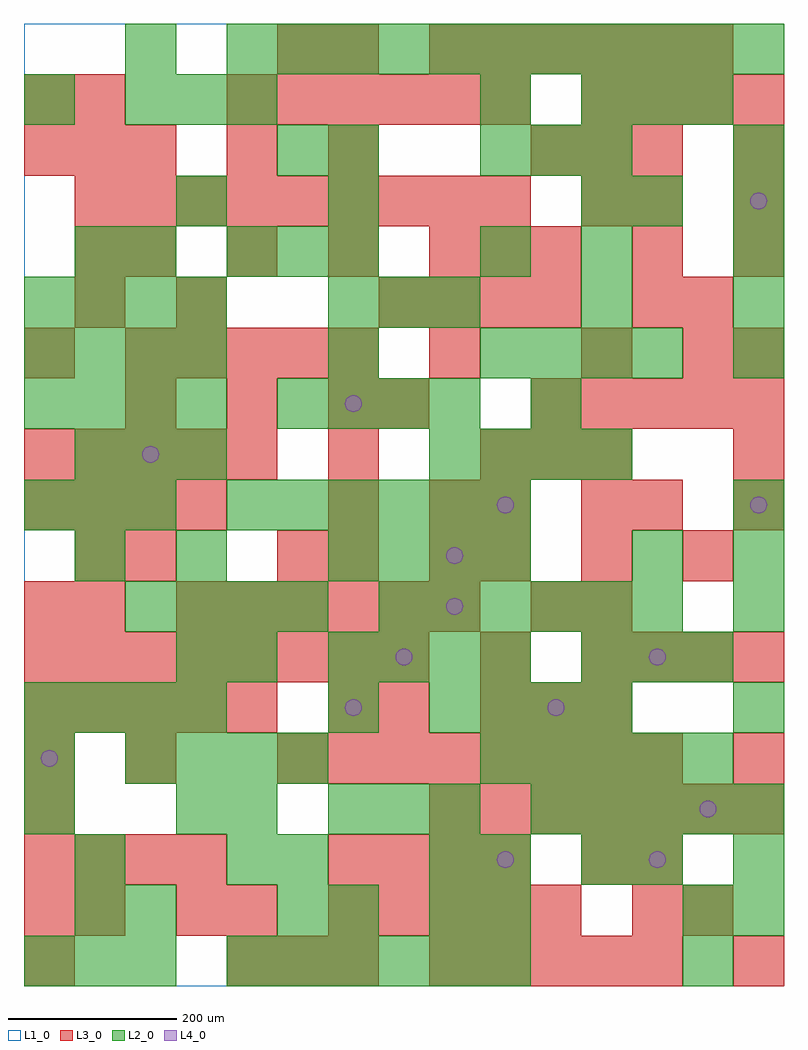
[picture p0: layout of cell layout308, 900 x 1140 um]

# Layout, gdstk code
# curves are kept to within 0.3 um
import gdstk
lib = gdstk.Library(unit=1e-6, precision=1e-09)
def R(c, l, rs):  # rectangles x0, y0, x1, y1
    for r in rs: c.add(gdstk.rectangle(r[:2], r[2:], *l))
def A(c, l, x, y, w, h, nx, ny, dx, dy):  # array of equal rectangles
    R(c, l, [(x+i*dx, y+j*dy, x+i*dx+w, y+j*dy+h) for i in range(nx) for j in range(ny)])
def P(c, l, *ps):  # polygons
    for p in ps: c.add(gdstk.Polygon(p, *l))
L1_0 = (1, 0)
L2_0 = (2, 0)
L3_0 = (3, 0)
L4_0 = (4, 0)

layout308 = lib.new_cell('layout308')
R(layout308, L1_0, [(0,0,900,1140)])
A(layout308, L2_0, 0, 0, 60, 60, 3, 2, 60, 540)
A(layout308, L2_0, 240, 0, 60, 60, 6, 2, 60, 540)
A(layout308, L2_0, 60, 120, 60, 60, 1, 3, 0, 360)
A(layout308, L2_0, 360, 180, 60, 60, 3, 2, 60, 600)
A(layout308, L2_0, 600, 180, 60, 60, 5, 1, 60, 0)
A(layout308, L2_0, 120, 240, 60, 60, 4, 2, 60, 180)
A(layout308, L2_0, 540, 240, 60, 60, 5, 1, 60, 0)
A(layout308, L2_0, 0, 300, 60, 60, 4, 2, 60, 360)
A(layout308, L2_0, 480, 300, 60, 60, 4, 2, 60, 300)
A(layout308, L2_0, 360, 360, 60, 60, 4, 2, 60, 120)
A(layout308, L2_0, 660, 360, 60, 60, 3, 2, 60, 660)
A(layout308, L2_0, 420, 420, 60, 60, 6, 1, 60, 0)
A(layout308, L2_0, 840, 420, 60, 60, 1, 3, 0, 60)
A(layout308, L2_0, 60, 600, 60, 60, 3, 1, 60, 0)
A(layout308, L2_0, 300, 660, 60, 60, 4, 1, 60, 0)
A(layout308, L2_0, 0, 720, 60, 60, 4, 2, 60, 60)
A(layout308, L2_0, 540, 720, 60, 60, 4, 1, 60, 0)
A(layout308, L2_0, 840, 720, 60, 60, 1, 5, 0, 60)
A(layout308, L2_0, 660, 780, 60, 60, 1, 3, 0, 60)
A(layout308, L2_0, 240, 840, 60, 60, 3, 1, 60, 0)
A(layout308, L2_0, 540, 960, 60, 60, 3, 1, 60, 0)
A(layout308, L2_0, 120, 1020, 60, 60, 3, 1, 60, 0)
A(layout308, L2_0, 240, 1080, 60, 60, 11, 1, 60, 0)
R(layout308, L2_0, [(780,0,840,60), (60,60,120,120), (120,60,180,120), (300,60,360,120), (360,60,420,120), (480,60,540,120), (540,60,600,120), (780,60,840,120), (840,60,900,120), (240,120,300,180), (300,120,360,180), (480,120,540,180), (540,120,600,180), (660,120,720,180), (720,120,780,180), (840,120,900,180), (0,180,60,240), (180,180,240,240), (240,180,300,240), (0,240,60,300), (360,300,420,360), (840,300,900,360), (180,360,240,420), (240,360,300,420), (180,480,240,540), (720,480,780,540), (600,660,660,720), (360,720,420,780), (120,840,180,900), (540,840,600,900), (180,900,240,960), (360,900,420,960), (720,900,780,960), (300,960,360,1020), (360,960,420,1020), (0,1020,60,1080), (540,1020,600,1080), (120,1080,180,1140)])
A(layout308, L3_0, 240, 0, 60, 60, 3, 1, 60, 0)
A(layout308, L3_0, 480, 0, 60, 60, 5, 1, 60, 0)
A(layout308, L3_0, 360, 60, 60, 60, 5, 1, 60, 0)
A(layout308, L3_0, 0, 120, 60, 60, 4, 2, 60, 420)
A(layout308, L3_0, 360, 120, 60, 60, 4, 1, 60, 0)
A(layout308, L3_0, 480, 180, 60, 60, 7, 1, 60, 0)
A(layout308, L3_0, 300, 240, 60, 60, 8, 1, 60, 0)
A(layout308, L3_0, 0, 300, 60, 60, 5, 2, 60, 300)
A(layout308, L3_0, 540, 300, 60, 60, 3, 2, 60, 300)
A(layout308, L3_0, 0, 360, 60, 60, 8, 1, 60, 0)
A(layout308, L3_0, 660, 360, 60, 60, 4, 2, 60, 660)
A(layout308, L3_0, 0, 420, 60, 60, 1, 3, 0, 300)
A(layout308, L3_0, 180, 420, 60, 60, 6, 1, 60, 0)
A(layout308, L3_0, 360, 480, 60, 60, 1, 3, 0, 60)
A(layout308, L3_0, 540, 480, 60, 60, 3, 1, 120, 0)
A(layout308, L3_0, 660, 540, 60, 60, 1, 3, 0, 180)
A(layout308, L3_0, 120, 660, 60, 60, 3, 1, 120, 0)
A(layout308, L3_0, 600, 660, 60, 60, 5, 1, 60, 0)
A(layout308, L3_0, 120, 720, 60, 60, 5, 1, 60, 0)
A(layout308, L3_0, 420, 780, 60, 60, 4, 1, 60, 0)
A(layout308, L3_0, 120, 840, 60, 60, 4, 1, 120, 0)
A(layout308, L3_0, 600, 840, 60, 60, 3, 1, 120, 0)
A(layout308, L3_0, 60, 900, 60, 60, 9, 1, 60, 0)
A(layout308, L3_0, 0, 960, 60, 60, 3, 1, 60, 0)
A(layout308, L3_0, 600, 960, 60, 60, 3, 1, 60, 0)
A(layout308, L3_0, 240, 1020, 60, 60, 6, 1, 60, 0)
A(layout308, L3_0, 480, 1080, 60, 60, 6, 1, 60, 0)
R(layout308, L3_0, [(0,0,60,60), (840,0,900,60), (0,60,60,120), (60,60,120,120), (180,60,240,120), (240,60,300,120), (720,60,780,120), (780,60,840,120), (660,120,720,180), (720,120,780,180), (0,180,60,240), (0,240,60,300), (120,240,180,300), (840,240,900,300), (360,300,420,360), (420,300,480,360), (540,360,600,420), (60,420,120,480), (600,420,660,480), (660,420,720,480), (60,480,120,540), (120,480,180,540), (300,480,360,540), (480,480,540,540), (480,540,540,600), (540,540,600,600), (720,540,780,600), (840,540,900,600), (840,600,900,660), (420,660,480,720), (480,720,540,780), (780,720,840,780), (840,720,900,780), (60,780,120,840), (180,780,240,840), (720,780,780,840), (780,780,840,840), (60,840,120,900), (540,840,600,900), (720,900,780,960), (840,900,900,960), (240,960,300,1020), (360,960,420,1020), (840,960,900,1020), (60,1020,120,1080), (300,1080,360,1140), (360,1080,420,1140)])
P(layout308, L4_0, [(40,270),(39.239,273.827),(37.071,277.071),(33.827,279.239),(30,280),(26.173,279.239),(22.929,277.071),(20.761,273.827),(20,270),(20.761,266.173),(22.929,262.929),(26.173,260.761),(30,260),(33.827,260.761),(37.071,262.929),(39.239,266.173)],
  [(160,630),(159.239,633.827),(157.071,637.071),(153.827,639.239),(150,640),(146.173,639.239),(142.929,637.071),(140.761,633.827),(140,630),(140.761,626.173),(142.929,622.929),(146.173,620.761),(150,620),(153.827,620.761),(157.071,622.929),(159.239,626.173)],
  [(400,330),(399.239,333.827),(397.071,337.071),(393.827,339.239),(390,340),(386.173,339.239),(382.929,337.071),(380.761,333.827),(380,330),(380.761,326.173),(382.929,322.929),(386.173,320.761),(390,320),(393.827,320.761),(397.071,322.929),(399.239,326.173)],
  [(400,690),(399.239,693.827),(397.071,697.071),(393.827,699.239),(390,700),(386.173,699.239),(382.929,697.071),(380.761,693.827),(380,690),(380.761,686.173),(382.929,682.929),(386.173,680.761),(390,680),(393.827,680.761),(397.071,682.929),(399.239,686.173)],
  [(460,390),(459.239,393.827),(457.071,397.071),(453.827,399.239),(450,400),(446.173,399.239),(442.929,397.071),(440.761,393.827),(440,390),(440.761,386.173),(442.929,382.929),(446.173,380.761),(450,380),(453.827,380.761),(457.071,382.929),(459.239,386.173)],
  [(520,450),(519.239,453.827),(517.071,457.071),(513.827,459.239),(510,460),(506.173,459.239),(502.929,457.071),(500.761,453.827),(500,450),(500.761,446.173),(502.929,442.929),(506.173,440.761),(510,440),(513.827,440.761),(517.071,442.929),(519.239,446.173)],
  [(520,510),(519.239,513.827),(517.071,517.071),(513.827,519.239),(510,520),(506.173,519.239),(502.929,517.071),(500.761,513.827),(500,510),(500.761,506.173),(502.929,502.929),(506.173,500.761),(510,500),(513.827,500.761),(517.071,502.929),(519.239,506.173)],
  [(580,150),(579.239,153.827),(577.071,157.071),(573.827,159.239),(570,160),(566.173,159.239),(562.929,157.071),(560.761,153.827),(560,150),(560.761,146.173),(562.929,142.929),(566.173,140.761),(570,140),(573.827,140.761),(577.071,142.929),(579.239,146.173)],
  [(580,570),(579.239,573.827),(577.071,577.071),(573.827,579.239),(570,580),(566.173,579.239),(562.929,577.071),(560.761,573.827),(560,570),(560.761,566.173),(562.929,562.929),(566.173,560.761),(570,560),(573.827,560.761),(577.071,562.929),(579.239,566.173)],
  [(640,330),(639.239,333.827),(637.071,337.071),(633.827,339.239),(630,340),(626.173,339.239),(622.929,337.071),(620.761,333.827),(620,330),(620.761,326.173),(622.929,322.929),(626.173,320.761),(630,320),(633.827,320.761),(637.071,322.929),(639.239,326.173)],
  [(760,150),(759.239,153.827),(757.071,157.071),(753.827,159.239),(750,160),(746.173,159.239),(742.929,157.071),(740.761,153.827),(740,150),(740.761,146.173),(742.929,142.929),(746.173,140.761),(750,140),(753.827,140.761),(757.071,142.929),(759.239,146.173)],
  [(760,390),(759.239,393.827),(757.071,397.071),(753.827,399.239),(750,400),(746.173,399.239),(742.929,397.071),(740.761,393.827),(740,390),(740.761,386.173),(742.929,382.929),(746.173,380.761),(750,380),(753.827,380.761),(757.071,382.929),(759.239,386.173)],
  [(820,210),(819.239,213.827),(817.071,217.071),(813.827,219.239),(810,220),(806.173,219.239),(802.929,217.071),(800.761,213.827),(800,210),(800.761,206.173),(802.929,202.929),(806.173,200.761),(810,200),(813.827,200.761),(817.071,202.929),(819.239,206.173)],
  [(880,570),(879.239,573.827),(877.071,577.071),(873.827,579.239),(870,580),(866.173,579.239),(862.929,577.071),(860.761,573.827),(860,570),(860.761,566.173),(862.929,562.929),(866.173,560.761),(870,560),(873.827,560.761),(877.071,562.929),(879.239,566.173)],
  [(880,930),(879.239,933.827),(877.071,937.071),(873.827,939.239),(870,940),(866.173,939.239),(862.929,937.071),(860.761,933.827),(860,930),(860.761,926.173),(862.929,922.929),(866.173,920.761),(870,920),(873.827,920.761),(877.071,922.929),(879.239,926.173)])

lib.write_gds('layout308.gds')
